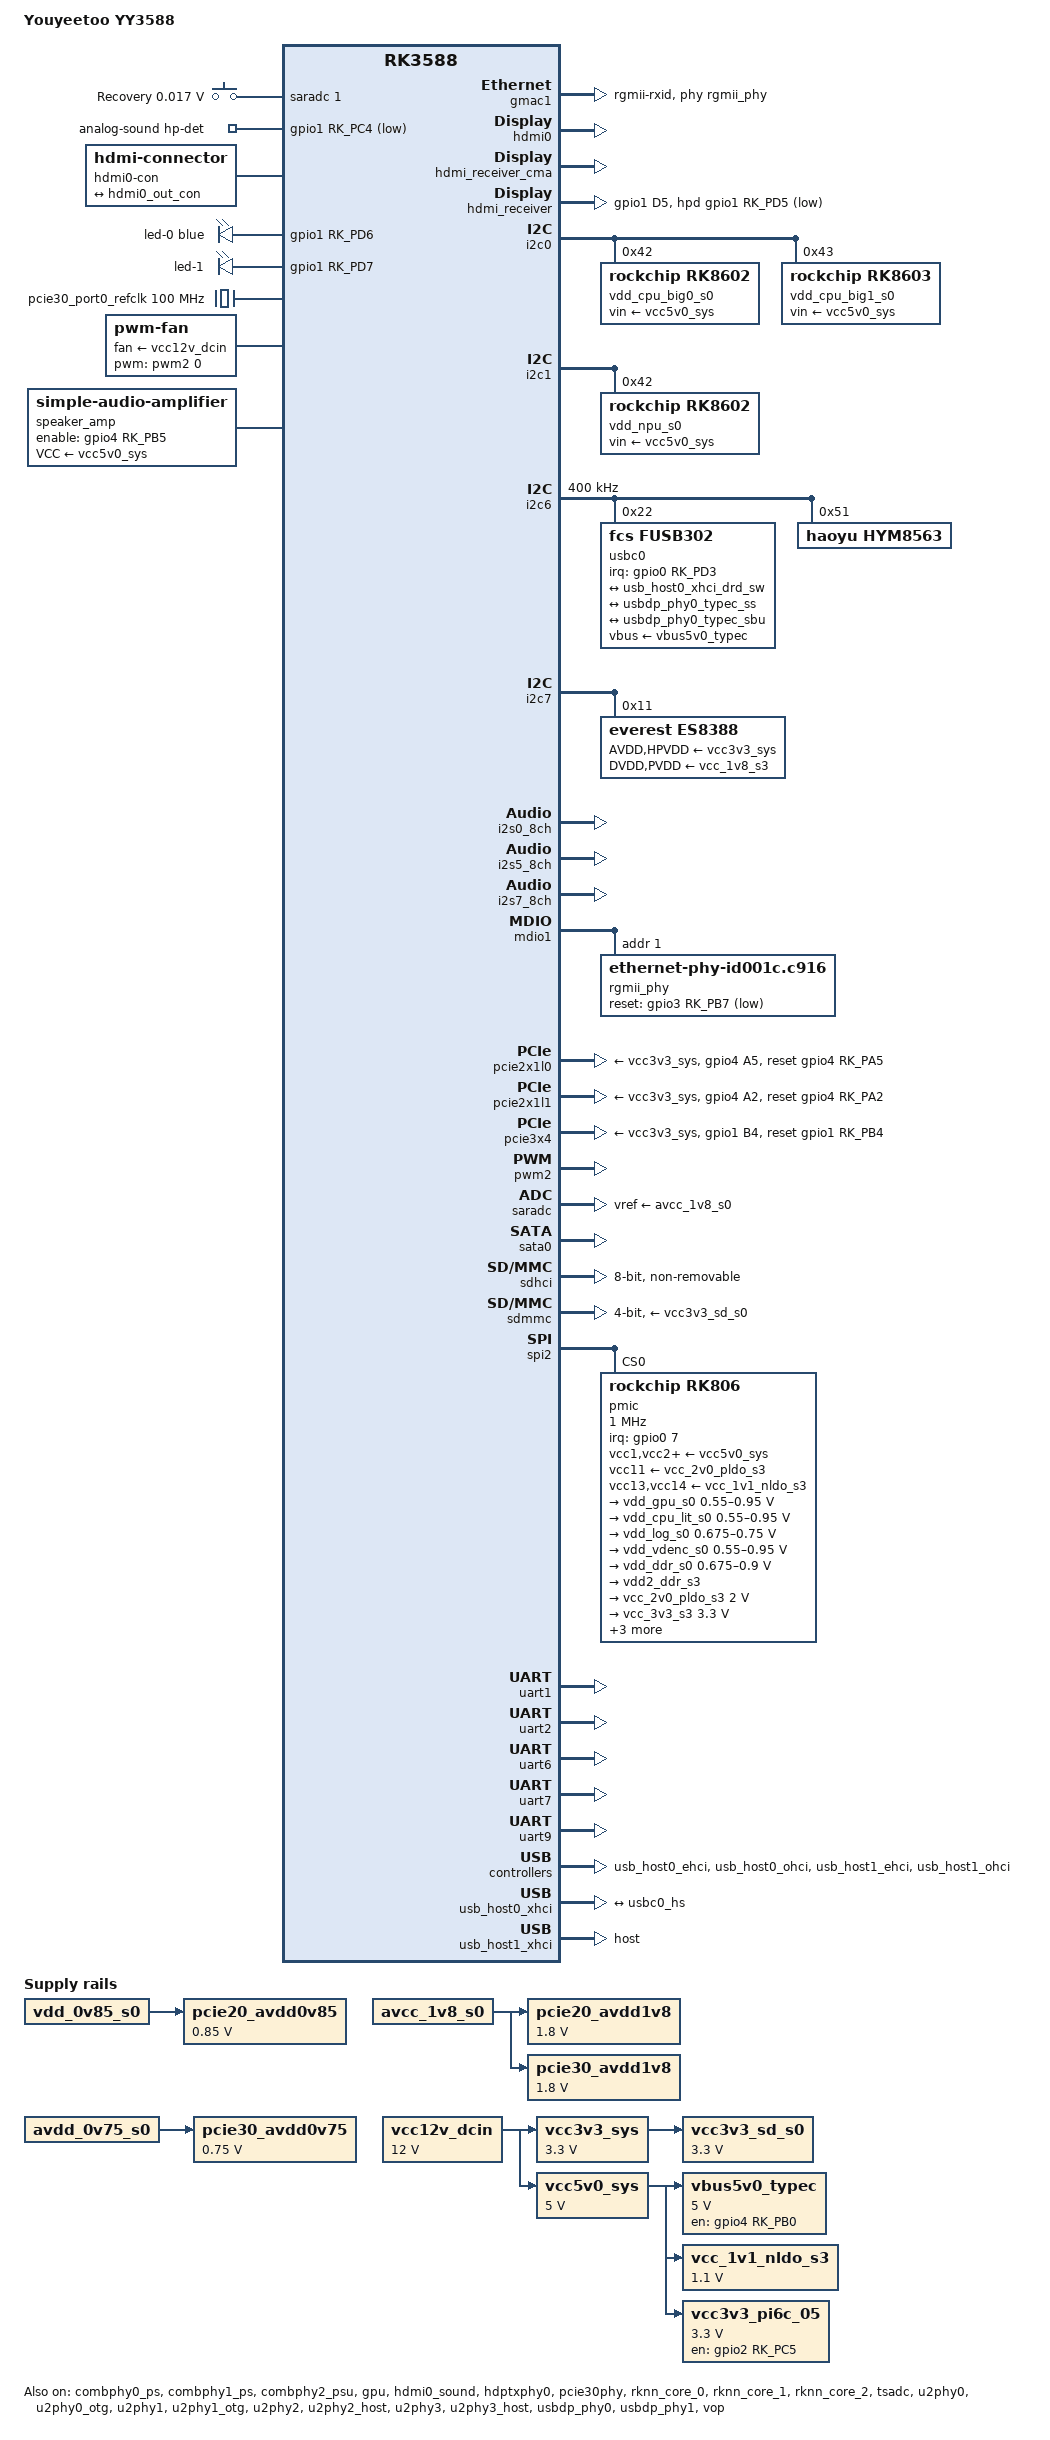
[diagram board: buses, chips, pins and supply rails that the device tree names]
// SPDX-License-Identifier: (GPL-2.0+ OR MIT)
/*
 * Copyright (c) 2024 Youyeetoo
 * Copyright (c) 2026 Daniele Briguglio <hello@superkali.me>
 */

/dts-v1/;

#include <dt-bindings/gpio/gpio.h>
#include <dt-bindings/input/input.h>
#include <dt-bindings/leds/common.h>
#include <dt-bindings/pinctrl/rockchip.h>
#include <dt-bindings/soc/rockchip,vop2.h>
#include <dt-bindings/usb/pd.h>
#include "rk3588.dtsi"

/ {
	model = "Youyeetoo YY3588";
	compatible = "youyeetoo,yy3588", "rockchip,rk3588";

	aliases {
		ethernet0 = &gmac1;
		ethernet1 = &r8125;
		mmc0 = &sdhci;
		mmc1 = &sdmmc;
	};

	adc-keys {
		compatible = "adc-keys";
		io-channels = <&saradc 1>;
		io-channel-names = "buttons";
		keyup-threshold-microvolt = <1800000>;
		poll-interval = <100>;

		button-recovery {
			label = "Recovery";
			linux,code = <KEY_VENDOR>;
			press-threshold-microvolt = <17000>;
		};
	};

	analog-sound {
		compatible = "simple-audio-card";
		pinctrl-names = "default";
		pinctrl-0 = <&hp_det>;
		simple-audio-card,name = "rockchip-es8388";
		simple-audio-card,aux-devs = <&speaker_amp>;
		simple-audio-card,format = "i2s";
		simple-audio-card,hp-det-gpios = <&gpio1 RK_PC4 GPIO_ACTIVE_LOW>;
		simple-audio-card,mclk-fs = <256>;
		simple-audio-card,pin-switches = "Headphones", "Speaker";
		simple-audio-card,routing =
			"Headphones", "LOUT2",
			"Headphones", "ROUT2",
			"Speaker Amp INL", "LOUT1",
			"Speaker Amp INR", "ROUT1",
			"Speaker", "Speaker Amp OUTL",
			"Speaker", "Speaker Amp OUTR",
			"LINPUT1", "Microphone Jack",
			"RINPUT1", "Microphone Jack",
			"LINPUT2", "Onboard Microphone",
			"RINPUT2", "Onboard Microphone";
		simple-audio-card,widgets =
			"Microphone", "Microphone Jack",
			"Microphone", "Onboard Microphone",
			"Headphone", "Headphones",
			"Speaker", "Speaker";

		simple-audio-card,codec {
			sound-dai = <&es8388>;
			system-clock-frequency = <12288000>;
		};

		simple-audio-card,cpu {
			sound-dai = <&i2s0_8ch>;
		};
	};

	chosen {
		stdout-path = "serial2:1500000n8";
	};

	hdmi0-con {
		compatible = "hdmi-connector";
		type = "a";

		port {
			hdmi0_con_in: endpoint {
				remote-endpoint = <&hdmi0_out_con>;
			};
		};
	};

	leds {
		compatible = "gpio-leds";
		pinctrl-names = "default";
		pinctrl-0 = <&led_pins>;

		led-0 {
			color = <LED_COLOR_ID_BLUE>;
			function = LED_FUNCTION_STATUS;
			gpios = <&gpio1 RK_PD6 GPIO_ACTIVE_HIGH>;
		};

		led-1 {
			function = LED_FUNCTION_HEARTBEAT;
			gpios = <&gpio1 RK_PD7 GPIO_ACTIVE_HIGH>;
			linux,default-trigger = "heartbeat";
		};
	};

	/* PI6C557-05BLE PCIe 3.0 reference clock generator */
	pcie30_port0_refclk: pcie-oscillator {
		compatible = "gated-fixed-clock";
		#clock-cells = <0>;
		clock-frequency = <100000000>;
		clock-output-names = "pcie30_refclk";
		vdd-supply = <&vcc3v3_pi6c_05>;
	};

	fan: pwm-fan {
		compatible = "pwm-fan";
		#cooling-cells = <2>;
		cooling-levels = <0 50 100 150 200 255>;
		fan-supply = <&vcc12v_dcin>;
		pwms = <&pwm2 0 50000 0>;
	};

	pcie20_avdd0v85: regulator-pcie20-avdd0v85 {
		compatible = "regulator-fixed";
		regulator-name = "pcie20_avdd0v85";
		regulator-always-on;
		regulator-boot-on;
		regulator-min-microvolt = <850000>;
		regulator-max-microvolt = <850000>;
		vin-supply = <&vdd_0v85_s0>;
	};

	pcie20_avdd1v8: regulator-pcie20-avdd1v8 {
		compatible = "regulator-fixed";
		regulator-name = "pcie20_avdd1v8";
		regulator-always-on;
		regulator-boot-on;
		regulator-min-microvolt = <1800000>;
		regulator-max-microvolt = <1800000>;
		vin-supply = <&avcc_1v8_s0>;
	};

	pcie30_avdd0v75: regulator-pcie30-avdd0v75 {
		compatible = "regulator-fixed";
		regulator-name = "pcie30_avdd0v75";
		regulator-always-on;
		regulator-boot-on;
		regulator-min-microvolt = <750000>;
		regulator-max-microvolt = <750000>;
		vin-supply = <&avdd_0v75_s0>;
	};

	pcie30_avdd1v8: regulator-pcie30-avdd1v8 {
		compatible = "regulator-fixed";
		regulator-name = "pcie30_avdd1v8";
		regulator-always-on;
		regulator-boot-on;
		regulator-min-microvolt = <1800000>;
		regulator-max-microvolt = <1800000>;
		vin-supply = <&avcc_1v8_s0>;
	};

	vbus5v0_typec: regulator-vbus5v0-typec {
		compatible = "regulator-fixed";
		enable-active-high;
		gpio = <&gpio4 RK_PB0 GPIO_ACTIVE_HIGH>;
		pinctrl-names = "default";
		pinctrl-0 = <&typec5v_pwren>;
		regulator-name = "vbus5v0_typec";
		regulator-min-microvolt = <5000000>;
		regulator-max-microvolt = <5000000>;
		vin-supply = <&vcc5v0_sys>;
	};

	vcc_1v1_nldo_s3: regulator-vcc-1v1-nldo-s3 {
		compatible = "regulator-fixed";
		regulator-name = "vcc_1v1_nldo_s3";
		regulator-always-on;
		regulator-boot-on;
		regulator-min-microvolt = <1100000>;
		regulator-max-microvolt = <1100000>;
		vin-supply = <&vcc5v0_sys>;
	};

	vcc12v_dcin: regulator-vcc12v-dcin {
		compatible = "regulator-fixed";
		regulator-name = "vcc12v_dcin";
		regulator-always-on;
		regulator-boot-on;
		regulator-min-microvolt = <12000000>;
		regulator-max-microvolt = <12000000>;
	};

	vcc3v3_pi6c_05: regulator-vcc3v3-pi6c-05 {
		compatible = "regulator-fixed";
		enable-active-high;
		gpios = <&gpio2 RK_PC5 GPIO_ACTIVE_HIGH>;
		pinctrl-names = "default";
		pinctrl-0 = <&pi6c_05_pwren>;
		regulator-name = "vcc3v3_pi6c_05";
		regulator-min-microvolt = <3300000>;
		regulator-max-microvolt = <3300000>;
		startup-delay-us = <5000>;
		vin-supply = <&vcc5v0_sys>;
	};

	vcc3v3_sd_s0: regulator-vcc3v3-sd-s0 {
		compatible = "regulator-fixed";
		regulator-name = "vcc3v3_sd_s0";
		regulator-always-on;
		regulator-boot-on;
		regulator-min-microvolt = <3300000>;
		regulator-max-microvolt = <3300000>;
		vin-supply = <&vcc3v3_sys>;
	};

	vcc3v3_sys: regulator-vcc3v3-sys {
		compatible = "regulator-fixed";
		regulator-name = "vcc3v3_sys";
		regulator-always-on;
		regulator-boot-on;
		regulator-min-microvolt = <3300000>;
		regulator-max-microvolt = <3300000>;
		vin-supply = <&vcc12v_dcin>;
	};

	vcc5v0_sys: regulator-vcc5v0-sys {
		compatible = "regulator-fixed";
		regulator-name = "vcc5v0_sys";
		regulator-always-on;
		regulator-boot-on;
		regulator-min-microvolt = <5000000>;
		regulator-max-microvolt = <5000000>;
		vin-supply = <&vcc12v_dcin>;
	};

	speaker_amp: speaker-amplifier {
		compatible = "simple-audio-amplifier";
		enable-gpios = <&gpio4 RK_PB5 GPIO_ACTIVE_HIGH>;
		pinctrl-names = "default";
		pinctrl-0 = <&spk_en>;
		sound-name-prefix = "Speaker Amp";
		VCC-supply = <&vcc5v0_sys>;
	};
};

&combphy0_ps {
	status = "okay";
};

&combphy1_ps {
	status = "okay";
};

&combphy2_psu {
	status = "okay";
};

&cpu_b0 {
	cpu-supply = <&vdd_cpu_big0_s0>;
};

&cpu_b1 {
	cpu-supply = <&vdd_cpu_big0_s0>;
};

&cpu_b2 {
	cpu-supply = <&vdd_cpu_big1_s0>;
};

&cpu_b3 {
	cpu-supply = <&vdd_cpu_big1_s0>;
};

&cpu_l0 {
	cpu-supply = <&vdd_cpu_lit_s0>;
};

&cpu_l1 {
	cpu-supply = <&vdd_cpu_lit_s0>;
};

&cpu_l2 {
	cpu-supply = <&vdd_cpu_lit_s0>;
};

&cpu_l3 {
	cpu-supply = <&vdd_cpu_lit_s0>;
};

&gmac1 {
	clock_in_out = "input";
	phy-handle = <&rgmii_phy>;
	/* RX delay is added by the PHY, TX delay by the GMAC */
	phy-mode = "rgmii-rxid";
	pinctrl-names = "default";
	pinctrl-0 = <&gmac1_miim
		     &gmac1_tx_bus2
		     &gmac1_rx_bus2
		     &gmac1_rgmii_clk
		     &gmac1_rgmii_bus
		     &gmac1_clkinout>;
	tx_delay = <0x43>;
	status = "okay";
};

&gpu {
	mali-supply = <&vdd_gpu_s0>;
	status = "okay";
};

&hdmi0 {
	frl-enable-gpios = <&gpio4 RK_PB1 GPIO_ACTIVE_LOW>;
	status = "okay";
};

&hdmi0_in {
	hdmi0_in_vp0: endpoint {
		remote-endpoint = <&vp0_out_hdmi0>;
	};
};

&hdmi0_out {
	hdmi0_out_con: endpoint {
		remote-endpoint = <&hdmi0_con_in>;
	};
};

&hdmi0_sound {
	status = "okay";
};

&hdmi_receiver_cma {
	status = "okay";
};

&hdmi_receiver {
	hpd-gpios = <&gpio1 RK_PD5 GPIO_ACTIVE_LOW>;
	pinctrl-names = "default";
	pinctrl-0 = <&hdmim1_rx_cec &hdmim1_rx_hpdin &hdmim1_rx_scl &hdmim1_rx_sda &hdmirx_5v_det>;
	status = "okay";
};

&hdptxphy0 {
	status = "okay";
};

&i2c0 {
	pinctrl-names = "default";
	pinctrl-0 = <&i2c0m2_xfer>;
	status = "okay";

	vdd_cpu_big0_s0: regulator@42 {
		compatible = "rockchip,rk8602";
		reg = <0x42>;
		fcs,suspend-voltage-selector = <1>;
		regulator-name = "vdd_cpu_big0_s0";
		regulator-always-on;
		regulator-boot-on;
		regulator-min-microvolt = <550000>;
		regulator-max-microvolt = <1050000>;
		regulator-ramp-delay = <2300>;
		vin-supply = <&vcc5v0_sys>;

		regulator-state-mem {
			regulator-off-in-suspend;
		};
	};

	vdd_cpu_big1_s0: regulator@43 {
		compatible = "rockchip,rk8603", "rockchip,rk8602";
		reg = <0x43>;
		fcs,suspend-voltage-selector = <1>;
		regulator-name = "vdd_cpu_big1_s0";
		regulator-always-on;
		regulator-boot-on;
		regulator-min-microvolt = <550000>;
		regulator-max-microvolt = <1050000>;
		regulator-ramp-delay = <2300>;
		vin-supply = <&vcc5v0_sys>;

		regulator-state-mem {
			regulator-off-in-suspend;
		};
	};
};

&i2c1 {
	pinctrl-names = "default";
	pinctrl-0 = <&i2c1m2_xfer>;
	status = "okay";

	vdd_npu_s0: regulator@42 {
		compatible = "rockchip,rk8602";
		reg = <0x42>;
		fcs,suspend-voltage-selector = <1>;
		regulator-name = "vdd_npu_s0";
		regulator-boot-on;
		regulator-min-microvolt = <550000>;
		regulator-max-microvolt = <950000>;
		regulator-ramp-delay = <2300>;
		vin-supply = <&vcc5v0_sys>;

		regulator-state-mem {
			regulator-off-in-suspend;
		};
	};
};

&i2c6 {
	clock-frequency = <400000>;
	pinctrl-names = "default";
	pinctrl-0 = <&i2c6m0_xfer>;
	status = "okay";

	usbc0: usb-typec@22 {
		compatible = "fcs,fusb302";
		reg = <0x22>;
		interrupt-parent = <&gpio0>;
		interrupts = <RK_PD3 IRQ_TYPE_LEVEL_LOW>;
		pinctrl-names = "default";
		pinctrl-0 = <&usbc0_int>;
		vbus-supply = <&vbus5v0_typec>;

		usb_con: connector {
			compatible = "usb-c-connector";
			data-role = "dual";
			label = "USB-C";
			power-role = "source";
			source-pdos = <PDO_FIXED(5000, 1500, PDO_FIXED_USB_COMM)>;

			ports {
				#address-cells = <1>;
				#size-cells = <0>;

				port@0 {
					reg = <0>;

					usbc0_hs: endpoint {
						remote-endpoint = <&usb_host0_xhci_drd_sw>;
					};
				};

				port@1 {
					reg = <1>;

					usbc0_ss: endpoint {
						remote-endpoint = <&usbdp_phy0_typec_ss>;
					};
				};

				port@2 {
					reg = <2>;

					usbc0_sbu: endpoint {
						remote-endpoint = <&usbdp_phy0_typec_sbu>;
					};
				};
			};
		};
	};

	hym8563: rtc@51 {
		compatible = "haoyu,hym8563";
		reg = <0x51>;
		#clock-cells = <0>;
		clock-output-names = "hym8563";
	};
};

&i2c7 {
	pinctrl-names = "default";
	pinctrl-0 = <&i2c7m0_xfer>;
	status = "okay";

	es8388: audio-codec@11 {
		compatible = "everest,es8388", "everest,es8328";
		reg = <0x11>;
		assigned-clocks = <&cru I2S0_8CH_MCLKOUT>;
		assigned-clock-rates = <12288000>;
		clocks = <&cru I2S0_8CH_MCLKOUT>;
		AVDD-supply = <&vcc3v3_sys>;
		DVDD-supply = <&vcc_1v8_s3>;
		HPVDD-supply = <&vcc3v3_sys>;
		PVDD-supply = <&vcc_1v8_s3>;
		#sound-dai-cells = <0>;
	};
};

&i2s0_8ch {
	pinctrl-0 = <&i2s0_lrck
		     &i2s0_mclk
		     &i2s0_sclk
		     &i2s0_sdi0
		     &i2s0_sdo0>;
	status = "okay";
};

&i2s5_8ch {
	status = "okay";
};

&i2s7_8ch {
	status = "okay";
};

&mdio1 {
	rgmii_phy: ethernet-phy@1 {
		/* RTL8211F */
		compatible = "ethernet-phy-id001c.c916";
		reg = <0x1>;
		pinctrl-names = "default";
		pinctrl-0 = <&rtl8211f_rst>;
		reset-assert-us = <20000>;
		reset-deassert-us = <100000>;
		reset-gpios = <&gpio3 RK_PB7 GPIO_ACTIVE_LOW>;
	};
};

&package_thermal {
	polling-delay = <1000>;

	trips {
		package_fan0: package-fan0 {
			temperature = <55000>;
			hysteresis = <2000>;
			type = "active";
		};

		package_fan1: package-fan1 {
			temperature = <65000>;
			hysteresis = <2000>;
			type = "active";
		};
	};

	cooling-maps {
		map0 {
			trip = <&package_fan0>;
			cooling-device = <&fan THERMAL_NO_LIMIT 1>;
		};

		map1 {
			trip = <&package_fan1>;
			cooling-device = <&fan 2 THERMAL_NO_LIMIT>;
		};
	};
};

&pcie2x1l0 {
	pinctrl-names = "default";
	pinctrl-0 = <&pcie2_0_rst>;
	reset-gpios = <&gpio4 RK_PA5 GPIO_ACTIVE_HIGH>;
	vpcie3v3-supply = <&vcc3v3_sys>;
	status = "okay";
};

&pcie2x1l1 {
	pinctrl-names = "default";
	pinctrl-0 = <&pcie2_1_rst>;
	reset-gpios = <&gpio4 RK_PA2 GPIO_ACTIVE_HIGH>;
	vpcie3v3-supply = <&vcc3v3_sys>;
	status = "okay";

	pcie@0,0 {
		reg = <0x300000 0 0 0 0>;
		#address-cells = <3>;
		#size-cells = <2>;
		ranges;
		device_type = "pci";
		bus-range = <0x30 0x3f>;

		r8125: ethernet@0,0 {
			reg = <0x310000 0 0 0 0>;
		};
	};
};

&pcie30phy {
	status = "okay";
};

&pcie3x4 {
	clocks = <&cru ACLK_PCIE_4L_MSTR>, <&cru ACLK_PCIE_4L_SLV>,
		 <&cru ACLK_PCIE_4L_DBI>, <&cru PCLK_PCIE_4L>,
		 <&cru CLK_PCIE_AUX0>, <&cru CLK_PCIE4L_PIPE>,
		 <&pcie30_port0_refclk>;
	clock-names = "aclk_mst", "aclk_slv",
		      "aclk_dbi", "pclk",
		      "aux", "pipe",
		      "ref";
	pinctrl-names = "default";
	pinctrl-0 = <&pcie3x4_perstn>;
	reset-gpios = <&gpio1 RK_PB4 GPIO_ACTIVE_HIGH>;
	vpcie3v3-supply = <&vcc3v3_sys>;
	status = "okay";
};

&pinctrl {
	hdmirx {
		hdmirx_5v_det: hdmirx-5v-det {
			rockchip,pins = <1 RK_PD5 RK_FUNC_GPIO &pcfg_pull_none>;
		};
	};

	leds {
		led_pins: led-pins {
			rockchip,pins = <1 RK_PD6 RK_FUNC_GPIO &pcfg_pull_none>,
					<1 RK_PD7 RK_FUNC_GPIO &pcfg_pull_none>;
		};
	};

	pcie {
		pcie2_0_rst: pcie2-0-rst {
			rockchip,pins = <4 RK_PA5 RK_FUNC_GPIO &pcfg_pull_none>;
		};

		pcie2_1_rst: pcie2-1-rst {
			rockchip,pins = <4 RK_PA2 RK_FUNC_GPIO &pcfg_pull_none>;
		};

		pi6c_05_pwren: pi6c-05-pwren {
			rockchip,pins = <2 RK_PC5 RK_FUNC_GPIO &pcfg_pull_none>;
		};

		pcie3x4_perstn: pcie3x4-perstn {
			rockchip,pins = <1 RK_PB4 RK_FUNC_GPIO &pcfg_pull_none>;
		};
	};

	rtl8211f {
		rtl8211f_rst: rtl8211f-rst {
			rockchip,pins = <3 RK_PB7 RK_FUNC_GPIO &pcfg_pull_none>;
		};
	};

	sound {
		hp_det: hp-det {
			rockchip,pins = <1 RK_PC4 RK_FUNC_GPIO &pcfg_pull_down>;
		};

		spk_en: spk-en {
			rockchip,pins = <4 RK_PB5 RK_FUNC_GPIO &pcfg_pull_none>;
		};
	};

	usb {
		typec5v_pwren: typec5v-pwren {
			rockchip,pins = <4 RK_PB0 RK_FUNC_GPIO &pcfg_pull_none>;
		};

		usbc0_int: usbc0-int {
			rockchip,pins = <0 RK_PD3 RK_FUNC_GPIO &pcfg_pull_up>;
		};
	};
};

&pwm2 {
	pinctrl-0 = <&pwm2m2_pins>;
	status = "okay";
};

&rknn_core_0 {
	npu-supply = <&vdd_npu_s0>;
	sram-supply = <&vdd_npu_s0>;
	status = "okay";
};

&rknn_core_1 {
	npu-supply = <&vdd_npu_s0>;
	sram-supply = <&vdd_npu_s0>;
	status = "okay";
};

&rknn_core_2 {
	npu-supply = <&vdd_npu_s0>;
	sram-supply = <&vdd_npu_s0>;
	status = "okay";
};

&rknn_mmu_0 {
	status = "okay";
};

&rknn_mmu_1 {
	status = "okay";
};

&rknn_mmu_2 {
	status = "okay";
};

&saradc {
	vref-supply = <&avcc_1v8_s0>;
	status = "okay";
};

&sata0 {
	status = "okay";
};

&sdhci {
	bus-width = <8>;
	mmc-hs400-1_8v;
	mmc-hs400-enhanced-strobe;
	no-sd;
	no-sdio;
	non-removable;
	status = "okay";
};

&sdmmc {
	bus-width = <4>;
	cap-mmc-highspeed;
	cap-sd-highspeed;
	disable-wp;
	max-frequency = <150000000>;
	no-mmc;
	no-sdio;
	sd-uhs-sdr104;
	vmmc-supply = <&vcc3v3_sd_s0>;
	vqmmc-supply = <&vccio_sd_s0>;
	status = "okay";
};

&spi2 {
	assigned-clocks = <&cru CLK_SPI2>;
	assigned-clock-rates = <200000000>;
	num-cs = <1>;
	pinctrl-names = "default";
	pinctrl-0 = <&spi2m2_cs0 &spi2m2_pins>;
	status = "okay";

	pmic@0 {
		compatible = "rockchip,rk806";
		reg = <0x0>;
		interrupt-parent = <&gpio0>;
		interrupts = <7 IRQ_TYPE_LEVEL_LOW>;
		pinctrl-names = "default";
		pinctrl-0 = <&pmic_pins>, <&rk806_dvs1_null>,
			    <&rk806_dvs2_null>, <&rk806_dvs3_null>;
		spi-max-frequency = <1000000>;
		system-power-controller;

		vcc1-supply = <&vcc5v0_sys>;
		vcc2-supply = <&vcc5v0_sys>;
		vcc3-supply = <&vcc5v0_sys>;
		vcc4-supply = <&vcc5v0_sys>;
		vcc5-supply = <&vcc5v0_sys>;
		vcc6-supply = <&vcc5v0_sys>;
		vcc7-supply = <&vcc5v0_sys>;
		vcc8-supply = <&vcc5v0_sys>;
		vcc9-supply = <&vcc5v0_sys>;
		vcc10-supply = <&vcc5v0_sys>;
		vcc11-supply = <&vcc_2v0_pldo_s3>;
		vcc12-supply = <&vcc5v0_sys>;
		vcc13-supply = <&vcc_1v1_nldo_s3>;
		vcc14-supply = <&vcc_1v1_nldo_s3>;
		vcca-supply = <&vcc5v0_sys>;

		gpio-controller;
		#gpio-cells = <2>;

		rk806_dvs1_null: dvs1-null-pins {
			pins = "gpio_pwrctrl1";
			function = "pin_fun0";
		};

		rk806_dvs2_null: dvs2-null-pins {
			pins = "gpio_pwrctrl2";
			function = "pin_fun0";
		};

		rk806_dvs3_null: dvs3-null-pins {
			pins = "gpio_pwrctrl3";
			function = "pin_fun0";
		};

		regulators {
			vdd_gpu_s0: vdd_gpu_mem_s0: dcdc-reg1 {
				regulator-boot-on;
				regulator-min-microvolt = <550000>;
				regulator-max-microvolt = <950000>;
				regulator-ramp-delay = <12500>;
				regulator-name = "vdd_gpu_s0";
				regulator-enable-ramp-delay = <400>;

				regulator-state-mem {
					regulator-off-in-suspend;
				};
			};

			vdd_cpu_lit_s0: vdd_cpu_lit_mem_s0: dcdc-reg2 {
				regulator-always-on;
				regulator-boot-on;
				regulator-min-microvolt = <550000>;
				regulator-max-microvolt = <950000>;
				regulator-ramp-delay = <12500>;
				regulator-name = "vdd_cpu_lit_s0";

				regulator-state-mem {
					regulator-off-in-suspend;
				};
			};

			vdd_log_s0: dcdc-reg3 {
				regulator-always-on;
				regulator-boot-on;
				regulator-min-microvolt = <675000>;
				regulator-max-microvolt = <750000>;
				regulator-ramp-delay = <12500>;
				regulator-name = "vdd_log_s0";

				regulator-state-mem {
					regulator-off-in-suspend;
				};
			};

			vdd_vdenc_s0: vdd_vdenc_mem_s0: dcdc-reg4 {
				regulator-always-on;
				regulator-boot-on;
				regulator-min-microvolt = <550000>;
				regulator-max-microvolt = <950000>;
				regulator-ramp-delay = <12500>;
				regulator-name = "vdd_vdenc_s0";

				regulator-state-mem {
					regulator-off-in-suspend;
				};
			};

			vdd_ddr_s0: dcdc-reg5 {
				regulator-always-on;
				regulator-boot-on;
				regulator-min-microvolt = <675000>;
				regulator-max-microvolt = <900000>;
				regulator-ramp-delay = <12500>;
				regulator-name = "vdd_ddr_s0";

				regulator-state-mem {
					regulator-off-in-suspend;
				};
			};

			vdd2_ddr_s3: dcdc-reg6 {
				regulator-always-on;
				regulator-boot-on;
				regulator-name = "vdd2_ddr_s3";

				regulator-state-mem {
					regulator-on-in-suspend;
				};
			};

			vcc_2v0_pldo_s3: dcdc-reg7 {
				regulator-always-on;
				regulator-boot-on;
				regulator-min-microvolt = <2000000>;
				regulator-max-microvolt = <2000000>;
				regulator-ramp-delay = <12500>;
				regulator-name = "vdd_2v0_pldo_s3";

				regulator-state-mem {
					regulator-on-in-suspend;
				};
			};

			vcc_3v3_s3: dcdc-reg8 {
				regulator-always-on;
				regulator-boot-on;
				regulator-min-microvolt = <3300000>;
				regulator-max-microvolt = <3300000>;
				regulator-name = "vcc_3v3_s3";

				regulator-state-mem {
					regulator-on-in-suspend;
				};
			};

			vddq_ddr_s0: dcdc-reg9 {
				regulator-always-on;
				regulator-boot-on;
				regulator-name = "vddq_ddr_s0";

				regulator-state-mem {
					regulator-off-in-suspend;
				};
			};

			vcc_1v8_s3: dcdc-reg10 {
				regulator-always-on;
				regulator-boot-on;
				regulator-min-microvolt = <1800000>;
				regulator-max-microvolt = <1800000>;
				regulator-name = "vcc_1v8_s3";

				regulator-state-mem {
					regulator-on-in-suspend;
				};
			};

			avcc_1v8_s0: pldo-reg1 {
				regulator-always-on;
				regulator-boot-on;
				regulator-min-microvolt = <1800000>;
				regulator-max-microvolt = <1800000>;
				regulator-name = "avcc_1v8_s0";

				regulator-state-mem {
					regulator-off-in-suspend;
				};
			};

			vcc_1v8_s0: pldo-reg2 {
				regulator-always-on;
				regulator-boot-on;
				regulator-min-microvolt = <1800000>;
				regulator-max-microvolt = <1800000>;
				regulator-name = "vcc_1v8_s0";

				regulator-state-mem {
					regulator-off-in-suspend;
				};
			};

			avdd_1v2_s0: pldo-reg3 {
				regulator-always-on;
				regulator-boot-on;
				regulator-min-microvolt = <1200000>;
				regulator-max-microvolt = <1200000>;
				regulator-name = "avdd_1v2_s0";

				regulator-state-mem {
					regulator-off-in-suspend;
				};
			};

			vcc_3v3_s0: pldo-reg4 {
				regulator-always-on;
				regulator-boot-on;
				regulator-min-microvolt = <3300000>;
				regulator-max-microvolt = <3300000>;
				regulator-ramp-delay = <12500>;
				regulator-name = "vcc_3v3_s0";

				regulator-state-mem {
					regulator-off-in-suspend;
				};
			};

			vccio_sd_s0: pldo-reg5 {
				regulator-always-on;
				regulator-boot-on;
				regulator-min-microvolt = <1800000>;
				regulator-max-microvolt = <3300000>;
				regulator-ramp-delay = <12500>;
				regulator-name = "vccio_sd_s0";

				regulator-state-mem {
					regulator-off-in-suspend;
				};
			};

			pldo6_s3: pldo-reg6 {
				regulator-always-on;
				regulator-boot-on;
				regulator-min-microvolt = <1800000>;
				regulator-max-microvolt = <1800000>;
				regulator-name = "pldo6_s3";

				regulator-state-mem {
					regulator-on-in-suspend;
				};
			};

			vdd_0v75_s3: nldo-reg1 {
				regulator-always-on;
				regulator-boot-on;
				regulator-min-microvolt = <750000>;
				regulator-max-microvolt = <750000>;
				regulator-name = "vdd_0v75_s3";

				regulator-state-mem {
					regulator-on-in-suspend;
				};
			};

			vdd_ddr_pll_s0: nldo-reg2 {
				regulator-always-on;
				regulator-boot-on;
				regulator-min-microvolt = <850000>;
				regulator-max-microvolt = <850000>;
				regulator-name = "vdd_ddr_pll_s0";

				regulator-state-mem {
					regulator-off-in-suspend;
				};
			};

			avdd_0v75_s0: nldo-reg3 {
				regulator-always-on;
				regulator-boot-on;
				regulator-min-microvolt = <750000>;
				regulator-max-microvolt = <750000>;
				regulator-name = "avdd_0v75_s0";

				regulator-state-mem {
					regulator-off-in-suspend;
				};
			};

			vdd_0v85_s0: nldo-reg4 {
				regulator-always-on;
				regulator-boot-on;
				regulator-min-microvolt = <850000>;
				regulator-max-microvolt = <850000>;
				regulator-name = "vdd_0v85_s0";

				regulator-state-mem {
					regulator-off-in-suspend;
				};
			};

			vdd_0v75_s0: nldo-reg5 {
				regulator-always-on;
				regulator-boot-on;
				regulator-min-microvolt = <750000>;
				regulator-max-microvolt = <750000>;
				regulator-name = "vdd_0v75_s0";

				regulator-state-mem {
					regulator-off-in-suspend;
				};
			};
		};
	};
};

&tsadc {
	status = "okay";
};

&u2phy0 {
	status = "okay";
};

&u2phy0_otg {
	status = "okay";
};

&u2phy1 {
	status = "okay";
};

&u2phy1_otg {
	status = "okay";
};

&u2phy2 {
	status = "okay";
};

&u2phy2_host {
	phy-supply = <&vcc5v0_sys>;
	status = "okay";
};

&u2phy3 {
	status = "okay";
};

&u2phy3_host {
	phy-supply = <&vcc5v0_sys>;
	status = "okay";
};

&uart1 {
	pinctrl-0 = <&uart1m0_xfer>;
	status = "okay";
};

&uart2 {
	pinctrl-0 = <&uart2m0_xfer>;
	status = "okay";
};

&uart6 {
	pinctrl-0 = <&uart6m0_xfer>;
	status = "okay";
};

&uart7 {
	pinctrl-0 = <&uart7m0_xfer>;
	status = "okay";
};

&uart9 {
	pinctrl-0 = <&uart9m0_xfer>;
	status = "okay";
};

&usb_host0_ehci {
	status = "okay";
};

&usb_host0_ohci {
	status = "okay";
};

&usb_host0_xhci {
	usb-role-switch;
	status = "okay";

	port {
		usb_host0_xhci_drd_sw: endpoint {
			remote-endpoint = <&usbc0_hs>;
		};
	};
};

&usb_host1_ehci {
	status = "okay";
};

&usb_host1_ohci {
	status = "okay";
};

&usb_host1_xhci {
	dr_mode = "host";
	status = "okay";
};

&usbdp_phy0 {
	mode-switch;
	orientation-switch;
	sbu1-dc-gpios = <&gpio4 RK_PA6 GPIO_ACTIVE_HIGH>;
	sbu2-dc-gpios = <&gpio4 RK_PA7 GPIO_ACTIVE_HIGH>;
	status = "okay";

	port {
		#address-cells = <1>;
		#size-cells = <0>;

		usbdp_phy0_typec_ss: endpoint@0 {
			reg = <0>;
			remote-endpoint = <&usbc0_ss>;
		};

		usbdp_phy0_typec_sbu: endpoint@1 {
			reg = <1>;
			remote-endpoint = <&usbc0_sbu>;
		};
	};
};

&usbdp_phy1 {
	status = "okay";
};

&vop {
	status = "okay";
};

&vop_mmu {
	status = "okay";
};

&vp0 {
	vp0_out_hdmi0: endpoint@ROCKCHIP_VOP2_EP_HDMI0 {
		reg = <ROCKCHIP_VOP2_EP_HDMI0>;
		remote-endpoint = <&hdmi0_in_vp0>;
	};
};
